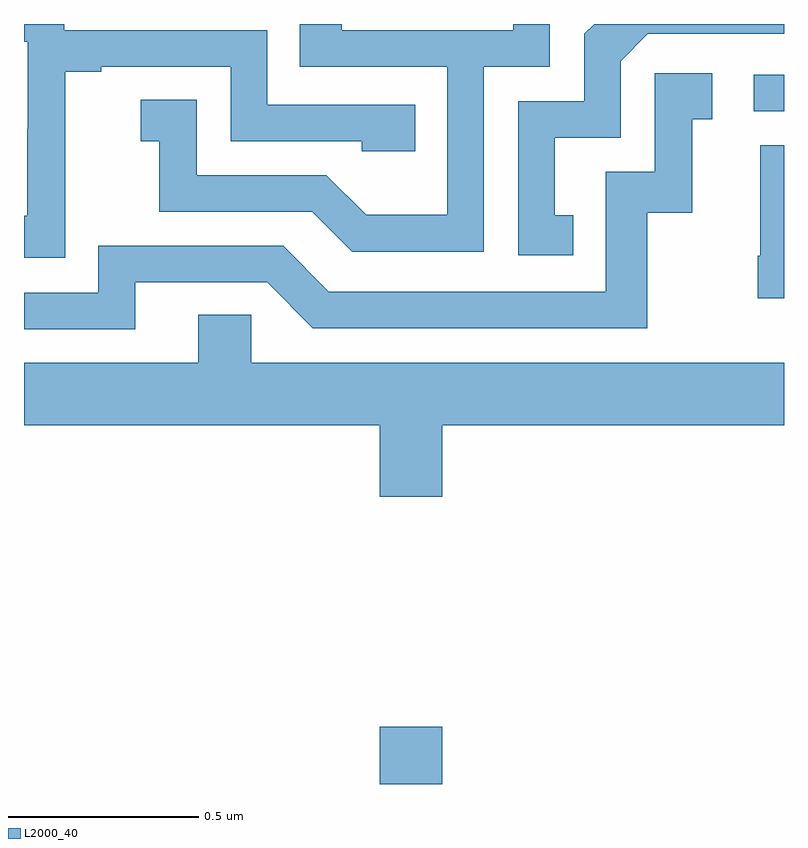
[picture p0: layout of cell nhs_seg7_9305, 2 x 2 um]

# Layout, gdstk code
import gdstk
lib = gdstk.Library(unit=1e-6, precision=1e-09)
def R(c, l, rs):  # rectangles x0, y0, x1, y1
    for r in rs: c.add(gdstk.rectangle(r[:2], r[2:], *l))
def P(c, l, *ps):  # polygons
    for p in ps: c.add(gdstk.Polygon(p, *l))
L2000_40 = (2000, 40)

nhs_seg7_9305 = lib.new_cell('nhs_seg7_9305')
R(nhs_seg7_9305, L2000_40, [(236.936,1005,237.1,1005.151), (237.921,1006.77,238,1006.866)])
P(nhs_seg7_9305, L2000_40, [(237.446,1006.497),(237.397,1006.497),(237.397,1006.701),(237.57,1006.701),(237.57,1006.902),(237.642,1006.974),(238,1006.974),(238,1007),(237.5,1007),(237.474,1006.974),(237.474,1006.797),(237.3,1006.797),(237.3,1006.392),(237.446,1006.392)],
  [(236.109,1006.591),(236.108,1006.591),(236.108,1006.875),(236.203,1006.875),(236.203,1006.887),(236.544,1006.887),(236.544,1006.692),(236.889,1006.692),(236.889,1006.665),(237.029,1006.665),(237.029,1006.788),(236.64,1006.788),(236.64,1006.983),(236.106,1006.983),(236.106,1007),(236,1007),(236,1006.953),(236.01,1006.953),(236.01,1006.724),(236.009,1006.724),(236.009,1006.495),(236,1006.495),(236,1006.385),(236.109,1006.385)],
  [(237.21,1006.887),(237.384,1006.887),(237.384,1007),(237.287,1007),(237.287,1006.983),(236.836,1006.983),(236.836,1007),(236.725,1007),(236.725,1006.887),(237.114,1006.887),(237.114,1006.498),(236.9,1006.498),(236.796,1006.602),(236.454,1006.602),(236.454,1006.801),(236.307,1006.801),(236.307,1006.691),(236.356,1006.691),(236.356,1006.506),(236.759,1006.506),(236.864,1006.401),(237.21,1006.401)],
  [(236.293,1006.32),(236.64,1006.32),(236.76,1006.2),(237.64,1006.2),(237.64,1006.503),(237.758,1006.503),(237.758,1006.749),(237.811,1006.749),(237.811,1006.87),(237.66,1006.87),(237.66,1006.611),(237.531,1006.611),(237.531,1006.296),(236.802,1006.296),(236.682,1006.416),(236.196,1006.416),(236.196,1006.293),(236,1006.293),(236,1006.197),(236.293,1006.197)],
  [(238,1006.681),(237.938,1006.681),(237.938,1006.39),(237.931,1006.39),(237.931,1006.278),(238,1006.278)],
  [(237.1,1005.944),(238,1005.944),(238,1006.108),(236.598,1006.108),(236.598,1006.235),(236.459,1006.235),(236.459,1006.108),(236,1006.108),(236,1005.944),(236.936,1005.944),(236.936,1005.756),(237.1,1005.756)])

lib.write_gds('nhs_seg7_9305.gds')
